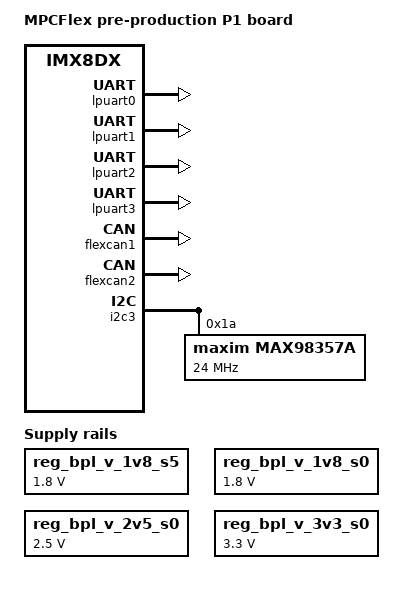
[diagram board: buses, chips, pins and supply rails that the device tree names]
/*
 * The code contained herein is licensed under the GNU General Public
 * License. You may obtain a copy of the GNU General Public License
 * Version 2 or later at the following locations:
 *
 * http://www.opensource.org/licenses/gpl-license.html
 * http://www.gnu.org/copyleft/gpl.html
 */

/* MPCFlex platform by Berg Propulsion, built on Kontron SMARC module */

/dts-v1/;

#define KEEP_CPUS  /* From kontron BSP - not sure what it is for */

#include "../freescale/imx8qxp.dtsi"
#include "kontron-samx8x.dtsi"

/ {
	model = "MPCFlex pre-production P1 board";
	compatible = "kontron,samx8x-dx", "fsl,imx8dx";

	/* To be replaced by MAX98337A */
	sound: sound {
		audio-codec = <&max98357a>;
		codec-master;
	};

	/* From kontron BSP, Not sure what it's needed for. */
	reserved-memory {
		/* global autoconfigured region for contiguous allocations */
		linux,cma {
			compatible = "shared-dma-pool";
			reusable;
			size = <0 0x3c000000>;
			alloc-ranges = <0 0x96000000 0 0x3c000000>;
			linux,cma-default;
		};
	};
};

&lpuart0 {
	status = "okay";
};

&lpuart1 {
	status = "okay";
};

&lpuart2 {
	status = "okay";
};

&lpuart3 {
	status = "okay";
};

&flexcan1 {
	status = "okay";
};

&flexcan2 {
	status = "okay";
};

/*
&i2c0 {
	tca9554_out: gpio@22 {
		compatible = "nxp,pca9554";
		reg = <0x22>;
		gpio-controller;
		#gpio-cells = <2>;
		vcc-supply = <&reg_bpl_v_1v8_s5>;
	};

	tca9554_in: gpio@24 {
		compatible = "nxp,pca9554";
		reg = <0x24>;
		gpio-controller;
		#gpio-cells = <2>;
		vcc-supply = <&reg_bpl_v_1v8_s5>;
	};

	user: eeprom@57 {
		compatible = "atmel,24c64";
		reg = <0x57>;
	};
};
*/

&i2c3 {
	max98357a: max98357a@0 {
		compatible = "maxim,max98357a";
		reg = <0x1a>;
		clocks = <&mclkout0_lpcg 0>;
		clock-names = "mclk";
		clock-frequency = <24000000>;
		micdet-cfg = <0x0>;
		micdet-delay = <0x64>;
		power-domains = <&pd IMX_SC_R_MCLK_OUT_0>;
	};
};

/*
&i2c3 {
	tca9554_misc: gpio@20 {
		compatible = "nxp,pca9554";
		reg = <0x20>;
		gpio-controller;
		#gpio-cells = <2>;
		vcc-supply = <&reg_1v8_s0>;
	};

	wm8904: wm8904@1a {
		compatible = "wlf,wm8904";
		reg = <0x1a>;
		clocks = <&mclkout0_lpcg 0>;
		clock-names = "mclk";
		clock-frequency = <24000000>;
		micdet-cfg = <0x0>;
		micdet-delay = <0x64>;
		power-domains = <&pd IMX_SC_R_MCLK_OUT_0>;
	};
};
*/

// FROM smarc-evaluation-carrier-v2.dtsi, then reduced :
/ {

	reg_bpl_v_1v8_s5: regulator-carrier-1v8-s5 {
		compatible = "regulator-fixed";
		regulator-name = "bpl-v-1v8-s5";
		regulator-min-microvolt = <1800000>;
		regulator-max-microvolt = <1800000>;
	};

	reg_bpl_v_1v8_s0: regulator-carrier-1v8-s0 {
		compatible = "regulator-fixed";
		regulator-name = "bpl-v-1v8-s0";
		regulator-min-microvolt = <1800000>;
		regulator-max-microvolt = <1800000>;
	};

	reg_bpl_v_2v5_s0: regulator-carrier-2v5-s0 {
		compatible = "regulator-fixed";
		regulator-name = "bpl-v-2v5-s0";
		regulator-min-microvolt = <2500000>;
		regulator-max-microvolt = <2500000>;
	};

	reg_bpl_v_3v3_s0: regulator-carrier-3v3-s0 {
		compatible = "regulator-fixed";
		regulator-name = "bpl-v-3v3-s0";
		regulator-min-microvolt = <3300000>;
		regulator-max-microvolt = <3300000>;
	};
};

/*&i2c0_mipi_lvds0 {
	lcd_edid: eeprom@50 {
		compatible = "atmel,24c04";
		reg = <0x50>;
	};
};
*/

